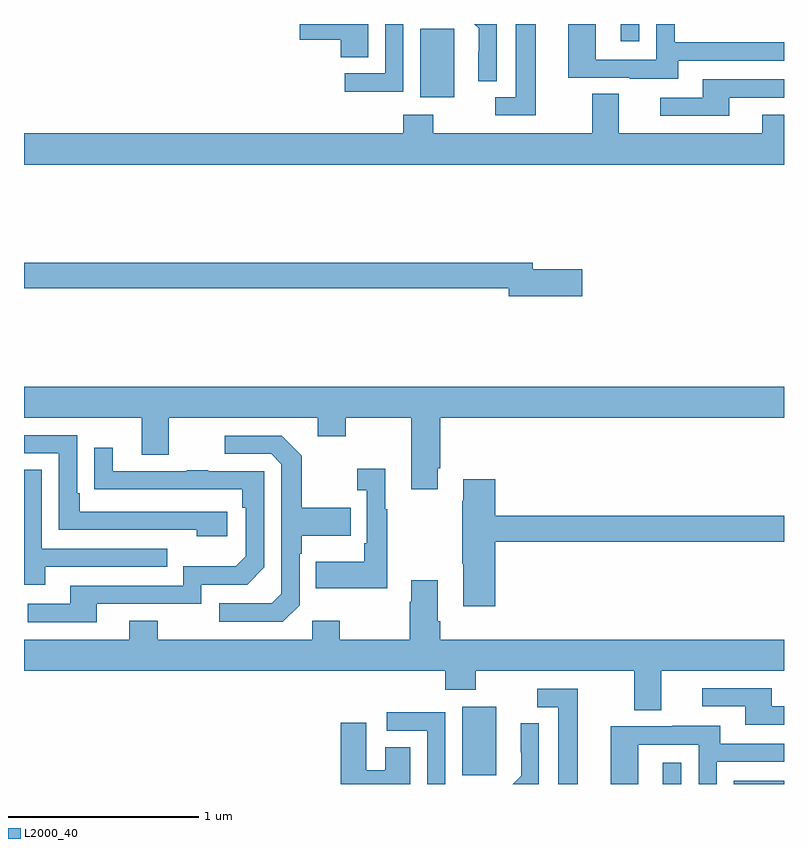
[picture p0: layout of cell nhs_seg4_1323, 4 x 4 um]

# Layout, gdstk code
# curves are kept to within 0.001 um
import gdstk
lib = gdstk.Library(unit=1e-6, precision=1e-09)
def R(c, l, rs):  # rectangles x0, y0, x1, y1
    for r in rs: c.add(gdstk.rectangle(r[:2], r[2:], *l))
def P(c, l, *ps):  # polygons
    for p in ps: c.add(gdstk.Polygon(p, *l))
L2000_40 = (2000, 40)

nhs_seg4_1323 = lib.new_cell('nhs_seg4_1323')
R(nhs_seg4_1323, L2000_40, [(182.363,786.9,182.46,787.012), (182.736,786.9,183,786.918), (181.307,786.945,181.486,787.306), (181.085,790.514,181.264,790.875), (182.141,790.809,182.238,790.9)])
P(nhs_seg4_1323, L2000_40, [(180.811,790.9),(180.45,790.9),(180.45,790.817),(180.668,790.817),(180.668,790.726),(180.811,790.726)],
  [(180.996,790.9),(180.9,790.9),(180.9,790.641),(180.687,790.641),(180.687,790.543),(180.996,790.543)],
  [(181.488,790.9),(181.371,790.9),(181.394,790.877),(181.394,790.754),(181.392,790.754),(181.392,790.6),(181.488,790.6)],
  [(182.443,790.707),(183,790.707),(183,790.803),(182.424,790.803),(182.424,790.9),(182.328,790.9),(182.328,790.713),(182.01,790.713),(182.01,790.9),(181.865,790.9),(181.865,790.617),(182.189,790.617),(182.189,790.613),(182.443,790.613)],
  [(181.693,790.9),(181.589,790.9),(181.589,790.515),(181.479,790.515),(181.479,790.419),(181.693,790.419)],
  [(182.713,790.512),(183,790.512),(183,790.608),(182.573,790.608),(182.573,790.512),(182.349,790.512),(182.349,790.416),(182.713,790.416)],
  [(183,790.423),(182.885,790.423),(182.885,790.324),(182.131,790.324),(182.131,790.532),(181.991,790.532),(181.991,790.324),(181.155,790.324),(181.155,790.423),(180.995,790.423),(180.995,790.324),(179,790.324),(179,790.16),(183,790.16)],
  [(181.939,789.608),(181.678,789.608),(181.678,789.644),(179,789.644),(179,789.508),(181.55,789.508),(181.55,789.466),(181.939,789.466)],
  [(181.177,788.563),(181.19,788.563),(181.19,788.828),(183,788.828),(183,788.992),(179,788.992),(179,788.828),(179.621,788.828),(179.621,788.634),(179.761,788.634),(179.761,788.828),(180.545,788.828),(180.545,788.729),(180.693,788.729),(180.693,788.828),(181.037,788.828),(181.037,788.451),(181.177,788.451)],
  [(180.07,788.334),(179.293,788.334),(179.293,788.431),(179.28,788.431),(179.28,788.736),(179,788.736),(179,788.64),(179.184,788.64),(179.184,788.238),(179.909,788.238),(179.909,788.204),(180.07,788.204)],
  [(180.45,787.842),(180.45,788.111),(180.463,788.111),(180.463,788.207),(180.719,788.207),(180.719,788.355),(180.463,788.355),(180.463,788.627),(180.357,788.733),(180.057,788.733),(180.057,788.637),(180.3,788.637),(180.354,788.583),(180.354,787.902),(180.303,787.851),(180.027,787.851),(180.027,787.755),(180.363,787.755)],
  [(179.383,787.848),(179.934,787.848),(179.934,787.95),(180.174,787.95),(180.264,788.04),(180.264,788.547),(179.969,788.547),(179.969,788.552),(179.857,788.552),(179.857,788.547),(179.467,788.547),(179.467,788.671),(179.371,788.671),(179.371,788.452),(180.148,788.451),(180.148,788.354),(180.168,788.354),(180.168,788.1),(180.115,788.047),(179.838,788.047),(179.838,787.944),(179.243,787.944),(179.243,787.848),(179.019,787.848),(179.019,787.752),(179.383,787.752)],
  [(180.913,788.347),(180.901,788.347),(180.901,788.56),(180.753,788.56),(180.753,788.447),(180.804,788.447),(180.804,788.167),(180.792,788.167),(180.792,788.071),(180.535,788.071),(180.535,787.931),(180.913,787.931)],
  [(179.113,788.043),(179.753,788.043),(179.753,788.139),(179.094,788.139),(179.094,788.555),(179,788.555),(179,787.949),(179.113,787.949)],
  [(181.481,788.176),(183,788.176),(183,788.312),(181.481,788.312),(181.481,788.503),(181.313,788.503),(181.313,788.39),(181.306,788.39),(181.306,788.059),(181.313,788.059),(181.313,787.836),(181.481,787.836)],
  [(182.353,787.496),(183,787.496),(183,787.66),(181.19,787.66),(181.19,787.756),(181.177,787.756),(181.177,787.972),(181.037,787.972),(181.037,787.859),(181.03,787.859),(181.03,787.66),(180.663,787.66),(180.663,787.759),(180.516,787.759),(180.516,787.66),(179.703,787.66),(179.703,787.759),(179.555,787.759),(179.555,787.66),(179,787.66),(179,787.496),(181.217,787.496),(181.217,787.397),(181.377,787.397),(181.377,787.496),(182.213,787.496),(182.213,787.288),(182.353,787.288)],
  [(183,787.308),(182.935,787.308),(182.935,787.404),(182.571,787.404),(182.571,787.308),(182.795,787.308),(182.795,787.212),(183,787.212)],
  [(181.915,787.401),(181.701,787.401),(181.701,787.305),(181.811,787.305),(181.811,786.9),(181.915,786.9)],
  [(181.218,787.278),(180.909,787.278),(180.909,787.179),(181.122,787.179),(181.122,786.9),(181.218,786.9)],
  [(181.033,787.094),(180.902,787.094),(180.902,786.973),(180.802,786.973),(180.802,787.222),(180.668,787.222),(180.668,786.9),(181.033,786.9)],
  [(181.71,786.902),(181.71,787.22),(181.614,787.22),(181.614,787.066),(181.616,787.066),(181.616,786.944),(181.572,786.9),(181.708,786.9)],
  [(182.232,787.107),(182.55,787.107),(182.55,786.9),(182.646,786.9),(182.646,787.017),(183,787.017),(183,787.113),(182.665,787.113),(182.665,787.207),(182.411,787.207),(182.411,787.203),(182.087,787.203),(182.087,786.9),(182.232,786.9)])

lib.write_gds('nhs_seg4_1323.gds')
